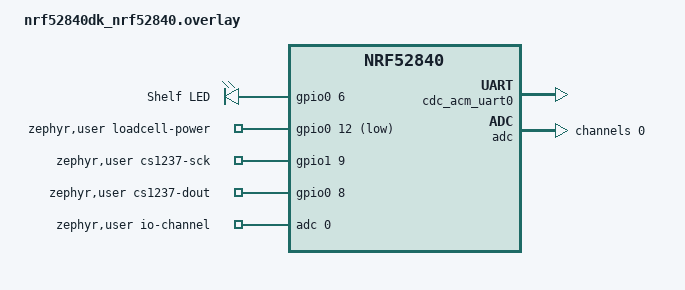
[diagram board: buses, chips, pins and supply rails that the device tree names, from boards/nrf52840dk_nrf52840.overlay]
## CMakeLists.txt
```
#
# Smart shelf node - E73-2G4M08S1C (nRF52840) + CS1237 load cell ADC
#
cmake_minimum_required(VERSION 3.20.0)

find_package(Zephyr REQUIRED HINTS $ENV{ZEPHYR_BASE})
project(smart_shelf)

target_sources(app PRIVATE
  src/main.c
  src/cs1237.c
  src/shelf_cal.c
  src/shelf_coap.c
)

target_include_directories(app PRIVATE src)
```

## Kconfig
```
#
# Smart shelf application options
#

menu "Smart shelf application"

comment "Power modes (docs/power-modes.md)"

config SHELF_IDLE_POLL_PERIOD_MS
	int "IDLE: Thread SED data poll period [ms]"
	default 1000
	help
	  How often the sleeping radio polls its parent. This bounds how fast
	  a gateway push (mode wake-up, LED) reaches an IDLE node, and is the
	  dominant *radio* power knob - the load cell rail usually dominates
	  overall, see SHELF_IDLE_MEASURE_INTERVAL_MS.

config SHELF_IDLE_MEASURE_INTERVAL_MS
	int "IDLE: load cell measurement period [ms]"
	default 2000
	help
	  The rail is powered for ~575 ms per gated measurement (warm-up plus
	  eleven 40 Hz conversions), so this duty cycle dominates the IDLE
	  power budget. 2000 ms keeps the requested 1-2 s change detection;
	  raise it if battery life matters more than idle responsiveness.

config SHELF_ACTIVE_MEASURE_INTERVAL_MS
	int "ACTIVE: load cell measurement period [ms]"
	default 500

config SHELF_ACTIVE_AVG_SAMPLES
	int "ACTIVE: samples averaged per measurement (640 Hz)"
	default 8
	range 1 64
	help
	  ACTIVE keeps the rail powered and runs the CS1237 at 640 Hz, so a
	  measurement is just this many conversions (~1.6 ms each). 640 Hz is
	  noisier per sample than 40 Hz - verify SHELF_ADC_DELTA_THRESHOLD
	  still clears the noise floor if you lower this.

config SHELF_HEARTBEAT_IDLE_S
	int "IDLE: force a report every N seconds (0 = never)"
	default 30
	help
	  Keeps the gateway's node table (and its mode-mismatch repair) alive
	  while nothing changes on the shelf. One NON report per interval.

config SHELF_HEARTBEAT_ACTIVE_S
	int "ACTIVE: force a report every N seconds (0 = never)"
	default 10

config SHELF_MODE_SYNC_INTERVAL_MS
	int "ACTIVE: LED/gateway sync poll period [ms]"
	default 5000
	help
	  Pushes are the fast path; this slow poll repairs a lost push and is
	  the liveness probe behind SHELF_ACTIVE_FAILSAFE_S.

config SHELF_ACTIVE_FAILSAFE_S
	int "ACTIVE: drop to IDLE after this long without gateway contact [s]"
	default 60
	help
	  Protects the battery when the gateway dies while the node is in
	  ACTIVE mode. The gateway repairs the mode via the weight report's
	  `md` field once it is back.

comment "Load cell measurement"

config SHELF_LOADCELL_WARMUP_MS
	int "Load cell / CS1237 warm-up time [ms]"
	default 300
	help
	  Delay between switching the load cell rail on and the first CS1237
	  access. Needs to cover the bridge settling time and the CS1237
	  power-on reset. Increase this if the first samples drift.

config SHELF_ADC_DISCARD_SAMPLES
	int "IDLE: samples discarded after power-up"
	default 3

config SHELF_ADC_AVG_SAMPLES
	int "IDLE: samples averaged into one measurement (40 Hz)"
	default 8
	range 1 64

config SHELF_ADC_DELTA_THRESHOLD
	int "Raw count change that triggers a report"
	default 500
	help
	  A measurement is only sent to the gateway when it differs from the
	  last reported value by at least this many raw ADC counts. Set this
	  above the peak-to-peak noise of your load cell or the node will
	  transmit continuously.

comment "Weight calibration"

config SHELF_CAL_OFFSET
	int "Raw counts at zero load (tare)"
	default 0

config SHELF_CAL_COUNTS_PER_KG
	int "Raw counts per kilogram"
	default 100000
	help
	  Only used to fill in the human readable "mg" field of the report.
	  The change detection always works on raw counts.

comment "Gateway communication"

config SHELF_COAP_RESP_TIMEOUT_MS
	int "CoAP response timeout [ms]"
	default 400

config SHELF_COAP_BASE_PATH
	string "First CoAP URI path segment used for all resources"
	default "shelf"

module = SHELF
module-str = Smart shelf
source "subsys/logging/Kconfig.template.log_config"

endmenu

source "Kconfig.zephyr"
```

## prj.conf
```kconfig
#
# Smart shelf node - E73-2G4M08S1C (nRF52840), Thread + CoAP
#

# --- Application ------------------------------------------------------------
CONFIG_MAIN_STACK_SIZE=4096

# Empty-shelf raw wandered 2119 counts p-p over 5 minutes (58 samples,
# 2026-08-08, freshly assembled setup) - slow drift, not sample noise, so the
# old 500-count default reported "changes" that were just drift. 2500 counts
# (~17 g at 144852 counts/kg) stays above the observed excursion; the 5-minute
# heartbeat re-bases the comparison value often enough to keep drift from
# accumulating past it. Re-measure after the mechanics have settled for a day -
# there may be room to lower this again.
CONFIG_SHELF_ADC_DELTA_THRESHOLD=2500
# IDLE load cell gate: one 583 ms rail burst (avg 4.8 mA, 10 ohm shunt
# measurement on battery) per interval. The rail duty is the dominant IDLE
# term, so 60 s brings the idle average to ~70 uA (~20 uA radio/system +
# ~47 uA rail) - about a year on 2000 mAh with 8 one-minute sessions a day.
# Change detection while nobody is logged in is delayed by up to this long;
# ACTIVE (0.2 s, rail always on) is unaffected.
CONFIG_SHELF_IDLE_MEASURE_INTERVAL_MS=60000
CONFIG_HEAP_MEM_POOL_SIZE=8192
CONFIG_GPIO=y
# Battery voltage via the SAADC VDDH/5 tap (`shelf battery`).
CONFIG_ADC=y
CONFIG_HWINFO=y
CONFIG_REBOOT=y

# --- Console / logging over the USB-C port ----------------------------------
# The module's UART pins collide with the LED and the CS1237, so everything
# goes over USB CDC ACM. Open the enumerated COM port at any baud rate.
CONFIG_SERIAL=y
CONFIG_CONSOLE=y
CONFIG_UART_CONSOLE=y
CONFIG_UART_LINE_CTRL=y
CONFIG_USB_DEVICE_STACK=y
CONFIG_USB_DEVICE_PRODUCT="Smart Shelf Node"
CONFIG_USB_DEVICE_MANUFACTURER="SmartShelf"
CONFIG_USB_DEVICE_INITIALIZE_AT_BOOT=n

CONFIG_LOG=y
CONFIG_LOG_MODE_DEFERRED=y
CONFIG_SHELF_LOG_LEVEL_INF=y

# When USB is not cooperating, build with `-DEXTRA_CONF_FILE=debug-rtt.conf` to
# move the console onto SEGGER RTT, which rides the SWD link instead.

# `ot` and `net` commands are extremely useful for commissioning and field
# debugging.
CONFIG_SHELL=y
CONFIG_OPENTHREAD_SHELL=y
CONFIG_NET_SHELL=y

# --- Networking -------------------------------------------------------------
CONFIG_NETWORKING=y
CONFIG_NET_IPV6=y
CONFIG_NET_UDP=y
CONFIG_NET_SOCKETS=y
CONFIG_NET_MGMT=y
CONFIG_NET_MGMT_EVENT=y
CONFIG_NET_MGMT_EVENT_INFO=y
CONFIG_NET_MGMT_EVENT_STACK_SIZE=2048
CONFIG_NET_CONNECTION_MANAGER=y
CONFIG_NET_IPV6_NBR_CACHE=n
CONFIG_NET_IPV6_MLD=n
CONFIG_NET_MAX_CONTEXTS=8
CONFIG_NET_CONFIG_SETTINGS=y
CONFIG_NET_CONFIG_AUTO_INIT=y
CONFIG_NET_CONFIG_NEED_IPV6=y

# Do not block boot waiting for an IPv6 address. The default is 30 s, and with
# no border router in range every boot burned all 30 of them before main() ran -
# which also delayed usb_enable(), so the USB console took half a minute to
# appear. The threads already wait for NET_EVENT_L4_CONNECTED themselves, so
# blocking here is redundant. 0 means "do not wait" (init.c:420).
CONFIG_NET_CONFIG_INIT_TIMEOUT=0

# --- Thread -----------------------------------------------------------------
CONFIG_NET_L2_OPENTHREAD=y
CONFIG_OPENTHREAD_MTD=y

# NCS defaults CONFIG_OPENTHREAD_MANUAL_START to y, which means the application
# has to call openthread_start() itself. This one does not - it just waits for
# NET_EVENT_L4_CONNECTED - so the stack stayed down: `ot ifconfig` reported
# `down`, `ot dataset active` reported NotFound, and every credential below was
# ignored in favour of OpenThread's built-in defaults (channel 11, panid 0xffff,
# network name "OpenThread"). Letting the L2 auto-start applies them and brings
# the interface up.
CONFIG_OPENTHREAD_MANUAL_START=n
# Sleepy End Device support. The node boots in IDLE mode (rx off, data poll
# below), and shelf_mode.c flips mRxOnWhenIdle at runtime when the gateway
# commands ACTIVE - see docs/power-modes.md. The old 700 ms LED poll that
# blocked SED (docs/build-and-flash.md §6) is gone: the gateway pushes LED
# state, and the parent queues pushes for the sleeping child.
CONFIG_OPENTHREAD_MTD_SED=y
CONFIG_OPENTHREAD_POLL_PERIOD=1000
CONFIG_OPENTHREAD_DEFAULT_TX_POWER=8

# Static commissioning. These MUST match the gateway / border router.
# Comment the whole block out and use `ot` shell commands or a joiner instead
# if the gateway hands out credentials.
CONFIG_OPENTHREAD_NETWORK_NAME="SmartShelf"
CONFIG_OPENTHREAD_CHANNEL=15
CONFIG_OPENTHREAD_PANID=43981
CONFIG_OPENTHREAD_XPANID="11:11:11:11:22:22:22:22"
CONFIG_OPENTHREAD_NETWORKKEY="00:11:22:33:44:55:66:77:88:99:aa:bb:cc:dd:ee:ff"

# --- CoAP -------------------------------------------------------------------
CONFIG_COAP=y
CONFIG_COAP_EXTENDED_OPTIONS_LEN=y
CONFIG_COAP_EXTENDED_OPTIONS_LEN_VALUE=64

# --- 32.768 kHz clock source ------------------------------------------------
# This board has no 32.768 kHz crystal - the module's XL1/XL2 pins are left
# unconnected (confirmed in the pcb-smart-shelf schematic). The nRF52840 DK
# board files assume one, so the internal RC oscillator must be selected
# explicitly.
#
# With XTAL selected and no crystal fitted, LFCLKSTARTED never fires and the
# system clock init blocks forever - the device hangs before main(), so no USB,
# no console, nothing. MCUboot needs the same override (sysbuild/mcuboot.conf).
CONFIG_CLOCK_CONTROL_NRF_K32SRC_RC=y
CONFIG_CLOCK_CONTROL_NRF_K32SRC_XTAL=n
CONFIG_CLOCK_CONTROL_NRF_K32SRC_500PPM=y
```

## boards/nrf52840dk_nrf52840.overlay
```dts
/*
 * Smart shelf node on an E73-2G4M08S1C (nRF52840) module.
 *
 * The build target is the nRF52840 DK board definition; this overlay replaces
 * every DK specific pin assignment that the module uses differently. Only the
 * SoC parts of the DK board files are actually relied on.
 *
 * Pin map (docs/plan.md):
 *   P0.06  LED
 *   P0.08  CS1237 DRDY/DOUT
 *   P1.09  CS1237 SCLK
 *   P0.12  load cell rail power switch      <-- plan.md says "P12", assumed P0.12
 */

#include <zephyr/dt-bindings/gpio/gpio.h>
#include <zephyr/dt-bindings/adc/nrf-adc.h>

/* Shared with MCUboot - both images must agree on the flash layout. */
#include "../partitions.dtsi"

/ {
	aliases {
		shelf-led = &shelf_led;
	};

	shelf_leds: shelf-leds {
		compatible = "gpio-leds";

		shelf_led: shelf-led {
			/* Change to GPIO_ACTIVE_LOW if the LED is wired to VCC. */
			gpios = <&gpio0 6 GPIO_ACTIVE_HIGH>;
			label = "Shelf LED";
		};
	};

	zephyr,user {
		/*
		 * Load cell + CS1237 rail switch. Q2 (AO3401A) is a P-channel
		 * high side switch: source = E73_3V3, drain = +3V3_C on J3,
		 * gate pulled up to the source by R11 (100k) and driven from
		 * P0.12 through R10 (1k). Pulling the gate LOW turns it ON,
		 * hence GPIO_ACTIVE_LOW.
		 *
		 * With ACTIVE_HIGH the logic is exactly inverted: cs1237_init()
		 * leaves the rail permanently on and cs1237_power_up() switches
		 * it off, so reads either time out (-116) or return 0 from a
		 * browning-out chip living off the bulk capacitance.
		 */
		loadcell-power-gpios = <&gpio0 12 GPIO_ACTIVE_LOW>;

		cs1237-sck-gpios  = <&gpio1 9 GPIO_ACTIVE_HIGH>;
		cs1237-dout-gpios = <&gpio0 8 GPIO_ACTIVE_HIGH>;

		/* Battery voltage via the SAADC's internal VDDH/5 tap - no
		 * external divider. VDDH is +BAT_FIN: the battery when running
		 * from it, or VBUS minus the D1 drop (~4.6 V) when USB is
		 * plugged in and Q5 has the battery disconnected. */
		io-channels = <&adc 0>;
	};

	chosen {
		zephyr,console = &cdc_acm_uart0;
		zephyr,shell-uart = &cdc_acm_uart0;
	};
};

/*
 * The DK routes UART0 to P0.05..P0.08, which collides with the LED (P0.06) and
 * with CS1237 DOUT (P0.08). Console and shell go over USB CDC ACM instead.
 */
&uart0 {
	status = "disabled";
};

&uart1 {
	status = "disabled";
};

/*
 * REG0 is the high voltage regulator (VDDH -> VDD). The DK enables its DC/DC
 * converter because the DK carries an inductor on DCCH; this board does not
 * (the module's DCH pin is unconnected).
 *
 * zephyr/soc/nordic/nrf52/soc.c:39 turns the DC/DC on whenever this node is
 * "okay", and without the inductor REG0 cannot regulate: VDD collapses to the
 * 1.8 V default and UICR.REGOUT0 appears to have no effect. Leaving it in LDO
 * mode is what makes REGOUT0 work.
 *
 * Symptom when this is missing: a blank chip shows the configured 3.0 V, but as
 * soon as any firmware boots VDD drops to 1.8 V - on USB and on battery alike -
 * and USB never enumerates.
 */
&reg0 {
	status = "disabled";
};

/* Not used on this module, and the DK pins are free for other purposes. */
&i2c0 {
	status = "disabled";
};

&spi1 {
	status = "disabled";
};

/*
 * The DK carries an MX25R64 QSPI flash; this board does not. Left enabled the
 * driver probes it on every boot and logs
 *
 *     <err> qspi_nor: JEDEC id [ff ff ff] expect [c2 28 17]
 */
&mx25r64 {
	status = "disabled";
};

&qspi {
	status = "disabled";
};

&zephyr_udc0 {
	cdc_acm_uart0: cdc_acm_uart0 {
		compatible = "zephyr,cdc-acm-uart";
	};
};

&adc {
	status = "okay";
	#address-cells = <1>;
	#size-cells = <0>;

	/* VDDH/5 with gain 1/2 against the 0.6 V internal reference gives a
	 * 0..12 V theoretical span - a 4.2 V Li-ion sits comfortably inside. */
	channel@0 {
		reg = <0>;
		zephyr,gain = "ADC_GAIN_1_2";
		zephyr,reference = "ADC_REF_INTERNAL";
		zephyr,acquisition-time = <ADC_ACQ_TIME(ADC_ACQ_TIME_MICROSECONDS, 40)>;
		zephyr,input-positive = <NRF_SAADC_VDDHDIV5>;
		zephyr,resolution = <12>;
		zephyr,oversampling = <4>;
	};
};
```

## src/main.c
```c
/*
 * Smart shelf node.
 *
 *   E73-2G4M08S1C (nRF52840) + CS1237 load cell ADC, Thread / CoAP uplink.
 *
 * Two power modes (docs/power-modes.md), commanded by the gateway:
 *
 *   IDLE   : Thread SED (radio polls every CONFIG_SHELF_IDLE_POLL_PERIOD_MS),
 *            gated 40 Hz measurements every CONFIG_SHELF_IDLE_MEASURE_INTERVAL_MS,
 *            LED forced off. This is the boot default.
 *   ACTIVE : Thread MED (radio always on), load cell rail kept powered and
 *            sampled at 640 Hz every CONFIG_SHELF_ACTIVE_MEASURE_INTERVAL_MS,
 *            LED driven by gateway pushes with a slow poll as backup.
 *
 *   measure thread : samples the load cell and reports to the gateway whenever
 *                    the reading moved by more than the configured threshold,
 *                    or the mode's heartbeat interval expired.
 *   led thread     : boot mode sync, ACTIVE LED sync poll + gateway failsafe,
 *                    IDLE LED-off enforcement.
 */

#include <zephyr/kernel.h>
#include <zephyr/device.h>
#include <zephyr/drivers/adc.h>
#include <zephyr/drivers/gpio.h>
#include <zephyr/logging/log.h>
#include <zephyr/net/net_event.h>
#include <zephyr/net/net_mgmt.h>
#include <zephyr/sys/atomic.h>
#include <errno.h>

#if defined(CONFIG_USB_DEVICE_STACK)
#include <zephyr/usb/usb_device.h>
#endif

#include "cs1237.h"
#include "shelf_cal.h"
#include "shelf_coap.h"
#include "shelf_mode.h"

LOG_MODULE_REGISTER(shelf, CONFIG_SHELF_LOG_LEVEL);

#define SHELF_USER_NODE DT_PATH(zephyr_user)

BUILD_ASSERT(CONFIG_SHELF_CAL_COUNTS_PER_KG != 0,
	     "SHELF_CAL_COUNTS_PER_KG must not be zero");

static const struct gpio_dt_spec led =
	GPIO_DT_SPEC_GET(DT_ALIAS(shelf_led), gpios);

/* .config is the IDLE profile; ACTIVE swaps the speed bits (see below). */
static const struct cs1237 loadcell = {
	.sck  = GPIO_DT_SPEC_GET(SHELF_USER_NODE, cs1237_sck_gpios),
	.dout = GPIO_DT_SPEC_GET(SHELF_USER_NODE, cs1237_dout_gpios),
	.pwr  = GPIO_DT_SPEC_GET(SHELF_USER_NODE, loadcell_power_gpios),
	.config = CS1237_SPEED_40 | CS1237_PGA_128 | CS1237_CH_A,
};

/* ACTIVE keeps the rail powered, so the slow-settling 40 Hz filter is not
 * needed - 640 Hz makes a full average cost ~15 ms instead of ~200 ms. */
#define CS_CFG_ACTIVE (CS1237_SPEED_640 | CS1237_PGA_128 | CS1237_CH_A)

static K_SEM_DEFINE(net_ready, 0, 1);
static struct net_mgmt_event_callback l4_cb;

/* Upper bound on how long a worker waits for the first L4_CONNECTED event.
 * After that it starts anyway - CoAP simply fails until the mesh is up, which
 * is preferable to a node that stays silent forever if the event is missed. */
#define NET_READY_GRACE K_SECONDS(120)

static void wait_for_network(const char *who)
{
	if (k_sem_take(&net_ready, NET_READY_GRACE) != 0) {
		LOG_WRN("%s: no Thread connectivity yet, starting anyway", who);
	} else {
		/* L4_CONNECTED gives the semaphore once, but the measure and LED
		 * threads both wait on it - hand the token back so the second
		 * waiter is released too instead of eating the full grace time. */
		k_sem_give(&net_ready);
	}
}

/* ------------------------------------------------------------------ network */

static void l4_event_handler(struct net_mgmt_event_callback *cb, uint64_t event,
			     struct net_if *iface)
{
	ARG_UNUSED(cb);
	ARG_UNUSED(iface);

	switch (event) {
	case NET_EVENT_L4_CONNECTED:
		LOG_INF("Thread network connected");
		k_sem_give(&net_ready);
		break;
	case NET_EVENT_L4_DISCONNECTED:
		LOG_WRN("Thread network disconnected");
		break;
	default:
		break;
	}
}

/* ------------------------------------------------------------------ weight */

static uint32_t abs_delta(int32_t a, int32_t b)
{
	return (uint32_t)((a > b) ? (a - b) : (b - a));
}

/* The measurement thread and the `shelf` shell commands both drive the rail
 * and the bit-banged bus, so everything is serialised by this mutex. It also
 * guards rail_held: in ACTIVE mode the measurement thread keeps the rail
 * powered between samples, and a shell `shelf raw` must ride that rail
 * instead of power-cycling it away underneath the thread. */
static K_MUTEX_DEFINE(loadcell_lock);
static bool rail_held;

int shelf_read_raw(int32_t *raw)
{
	int ret;

	k_mutex_lock(&loadcell_lock, K_FOREVER);

	if (rail_held) {
		/* Rail already on and converting at 640 Hz. */
		ret = cs1237_read_avg(&loadcell, 1,
				      CONFIG_SHELF_ACTIVE_AVG_SAMPLES, raw);
	} else {
		ret = cs1237_power_up(&loadcell);
		if (ret == 0) {
			ret = cs1237_read_avg(&loadcell,
					      CONFIG_SHELF_ADC_DISCARD_SAMPLES,
					      CONFIG_SHELF_ADC_AVG_SAMPLES, raw);
		}
		cs1237_power_down(&loadcell);
	}

	k_mutex_unlock(&loadcell_lock);
	return ret;
}

/* Rail policy on a mode transition. Failure to power up is not fatal - the
 * next measurement attempt retries. */
static void rail_enter_mode(enum shelf_mode mode)
{
	k_mutex_lock(&loadcell_lock, K_FOREVER);

	if (mode == SHELF_MODE_ACTIVE && !rail_held) {
		if (cs1237_power_up_cfg(&loadcell, CS_CFG_ACTIVE) == 0) {
			rail_held = true;
		} else {
			cs1237_power_down(&loadcell);
		}
	} else if (mode == SHELF_MODE_IDLE && rail_held) {
		cs1237_power_down(&loadcell);
		rail_held = false;
	}

	k_mutex_unlock(&loadcell_lock);
}

static void measure_thread_fn(void *p1, void *p2, void *p3)
{
	enum shelf_mode cur = SHELF_MODE_IDLE;
	int32_t last_reported = 0;
	int64_t last_report_ms = 0;
	bool have_last = false;
	uint32_t seq = 0;
	int64_t next;

	ARG_UNUSED(p1);
	ARG_UNUSED(p2);
	ARG_UNUSED(p3);

	wait_for_network("measure");
	next = k_uptime_get();

	while (true) {
		enum shelf_mode m = shelf_mode_get();
		uint32_t interval = (m == SHELF_MODE_ACTIVE)
			? CONFIG_SHELF_ACTIVE_MEASURE_INTERVAL_MS
			: CONFIG_SHELF_IDLE_MEASURE_INTERVAL_MS;
		uint32_t heartbeat_s = (m == SHELF_MODE_ACTIVE)
			? CONFIG_SHELF_HEARTBEAT_ACTIVE_S
			: CONFIG_SHELF_HEARTBEAT_IDLE_S;
		int32_t raw = 0;
		int ret;

		if (m != cur) {
			rail_enter_mode(m);
			cur = m;
		} else if (m == SHELF_MODE_ACTIVE && !rail_held) {
			rail_enter_mode(m);	/* retry a failed power-up */
		}

		next += interval;

		ret = shelf_read_raw(&raw);

		if (ret) {
			LOG_ERR("load cell measurement failed (%d)", ret);
		} else {
			int64_t now = k_uptime_get();
			bool changed = !have_last ||
				abs_delta(raw, last_reported) >=
					(uint32_t)CONFIG_SHELF_ADC_DELTA_THRESHOLD;
			bool heartbeat = (heartbeat_s > 0) &&
				(now - last_report_ms >= (int64_t)heartbeat_s * 1000);

			LOG_DBG("raw=%d mg=%d%s", raw, shelf_raw_to_mg(raw),
				changed ? " (changed)" : "");

			if (changed || heartbeat) {
				int32_t batt_mv = -1;

				(void)shelf_battery_read_mv(&batt_mv);

				if (shelf_coap_report_weight(raw, shelf_raw_to_mg(raw),
							     ++seq, batt_mv) == 0) {
					last_reported = raw;
					last_report_ms = now;
					have_last = true;
				}
			}
		}

		/* Sleep until the next slot - or instantly re-evaluate when
		 * shelf_mode_request() gives the semaphore on a mode change. */
		if (k_sem_take(&shelf_mode_measure_wake,
			       K_TIMEOUT_ABS_MS(next)) == 0) {
			next = k_uptime_get();
		}
	}
}

/* --------------------------------------------------------------------- LED */

static atomic_t led_commanded;

static void led_apply(bool on)
{
	atomic_set(&led_commanded, on ? 1 : 0);
	gpio_pin_set_dt(&led, on);
}

/* Runs in the CoAP RX thread when the gateway pushes PUT <base>/led. */
static void led_push_handler(bool on)
{
	if (shelf_mode_get() != SHELF_MODE_ACTIVE && on) {
		/* IDLE means nobody is looking at the shelf - don't let a
		 * racing push leave the LED burning for nobody. */
		LOG_WRN("LED-on push ignored in idle mode");
		return;
	}
	led_apply(on);
}

/*
 * One-time boot synchronisation: ask the gateway which mode we should be in.
 * Ends as soon as an answer arrives, any mode push beats us to it, or the
 * shell forces a mode (bench work without a gateway - the LED thread must
 * not stay parked here or forced ACTIVE never runs the wake animation).
 * Backs off so an old gateway (no mode resource) only costs one request a
 * minute.
 */
static void boot_mode_sync(void)
{
	uint32_t delay_s = 2;

	while (!shelf_mode_is_synced() && !shelf_mode_is_forced()) {
		enum shelf_mode m;

		if (shelf_coap_get_mode(&m) == 0) {
			shelf_mode_request(m, SHELF_MODE_ORIGIN_GATEWAY);
			return;
		}

		for (uint32_t i = 0;
		     i < delay_s && !shelf_mode_is_synced() &&
		     !shelf_mode_is_forced(); i++) {
			k_sleep(K_SECONDS(1));
		}
		delay_s = MIN(delay_s * 2, 60);
	}
}

static void led_thread_fn(void *p1, void *p2, void *p3)
{
	enum shelf_mode prev = SHELF_MODE_IDLE;

	ARG_UNUSED(p1);
	ARG_UNUSED(p2);
	ARG_UNUSED(p3);

	wait_for_network("led");
	boot_mode_sync();

	while (true) {
		enum shelf_mode m = shelf_mode_get();

		if (m == SHELF_MODE_ACTIVE && prev != SHELF_MODE_ACTIVE) {
			/* Wake animation: one 0->255->0 breathe so the user sees
			 * the shelf come alive on login. Runs here (not in the
			 * CoAP RX thread that received the push) so the mode-push
			 * ACK is not delayed by the ~4 s sweep. A LED push that
			 * lands mid-sweep is re-asserted right after. */
			LOG_INF("wake animation");
			shelf_led_breathe(1);
			led_apply(atomic_get(&led_commanded));
		}
		prev = m;

		if (m != SHELF_MODE_ACTIVE) {
			if (atomic_get(&led_commanded)) {
				LOG_INF("idle mode, LED off");
			}
			led_apply(false);
			/* Nothing to do until the mode changes. */
			k_sem_take(&shelf_mode_led_wake, K_FOREVER);
			continue;
		}

		/* ACTIVE: pushes do the fast path; this poll repairs a lost
		 * push and doubles as the gateway liveness probe. */
		bool want = atomic_get(&led_commanded);

		if (shelf_coap_poll_led(&want) == 0) {
			if (want != (bool)atomic_get(&led_commanded)) {
				LOG_INF("LED %s (sync poll)", want ? "on" : "off");
				led_apply(want);
			}
		} else if (!shelf_mode_is_forced()) {
			int64_t contact = shelf_coap_last_contact();

			if (contact > 0 &&
			    k_uptime_get() - contact >
				    (int64_t)CONFIG_SHELF_ACTIVE_FAILSAFE_S * 1000) {
				LOG_WRN("no gateway for %d s, dropping to idle",
					CONFIG_SHELF_ACTIVE_FAILSAFE_S);
				shelf_mode_request(SHELF_MODE_IDLE,
						   SHELF_MODE_ORIGIN_FAILSAFE);
				continue;
			}
		}

		(void)k_sem_take(&shelf_mode_led_wake,
				 K_MSEC(CONFIG_SHELF_MODE_SYNC_INTERVAL_MS));
	}
}

/* ----------------------------------------------------------------- battery */

/* SAADC channel on the internal VDDH/5 tap (see the board overlay). VDDH is
 * +BAT_FIN, so this reads the battery when running from it - and VBUS minus
 * the D1 drop when USB is plugged in and Q5 has the battery disconnected. */
static const struct adc_dt_spec vbat_adc =
	ADC_DT_SPEC_GET_BY_IDX(SHELF_USER_NODE, 0);

int shelf_battery_read_mv(int32_t *mv)
{
	int16_t buf;
	struct adc_sequence seq = {
		.buffer = &buf,
		.buffer_size = sizeof(buf),
	};
	int32_t val;
	int ret;

	if (!adc_is_ready_dt(&vbat_adc)) {
		return -ENODEV;
	}

	ret = adc_channel_setup_dt(&vbat_adc);
	if (ret) {
		return ret;
	}

	ret = adc_sequence_init_dt(&vbat_adc, &seq);
	if (ret) {
		return ret;
	}

	ret = adc_read_dt(&vbat_adc, &seq);
	if (ret) {
		return ret;
	}

	val = buf;
	ret = adc_raw_to_millivolts_dt(&vbat_adc, &val);
	if (ret) {
		return ret;
	}

	*mv = val * 5;	/* the tap divides VDDH by 5 */
	return 0;
}

/* Software-PWM breathing test for the LED hardware (Q1 gate on P0.06). The
 * shell thread bit-bangs the duty cycle, so no PWM peripheral or devicetree
 * channel is needed. The LED thread or a push may write the pin once
 * mid-test; the next PWM period overwrites it, so a glitch is at most 2 ms. */
int shelf_led_breathe(unsigned int cycles)
{
	const uint32_t period_us = 2000;      /* 500 Hz, flicker-free */
	const uint32_t periods_per_step = 4;  /* ~8 ms per brightness step */

	for (unsigned int c = 0; c < cycles; c++) {
		for (int step = 0; step < 510; step++) {
			uint32_t b = (step < 255) ? step : 510 - step;
			/* b^2/255 approximates the eye's response, so the ramp
			 * looks linear instead of hanging near full brightness. */
			uint32_t on_us = (b * b * period_us) / (255U * 255U);

			for (uint32_t p = 0; p < periods_per_step; p++) {
				if (on_us > 0) {
					gpio_pin_set_dt(&led, 1);
					k_busy_wait(on_us);
				}
				if (on_us < period_us) {
					gpio_pin_set_dt(&led, 0);
					k_busy_wait(period_us - on_us);
				}
			}
		}
	}

	gpio_pin_set_dt(&led, 0);
	return 0;
}

/* -------------------------------------------------------------------- main */

K_THREAD_DEFINE(measure_tid, 3072, measure_thread_fn, NULL, NULL, NULL,
		K_PRIO_PREEMPT(7), 0, 0);
K_THREAD_DEFINE(led_tid, 3072, led_thread_fn, NULL, NULL, NULL,
		K_PRIO_PREEMPT(6), 0, 0);

int main(void)
{
	int ret;

#if defined(CONFIG_USB_DEVICE_STACK)
	/* Console and shell live on the USB-C port. */
	(void)usb_enable(NULL);
#endif

	LOG_INF("smart shelf node starting");

	if (!gpio_is_ready_dt(&led)) {
		LOG_ERR("LED GPIO not ready");
		return -ENODEV;
	}

	ret = gpio_pin_configure_dt(&led, GPIO_OUTPUT_INACTIVE);
	if (ret) {
		LOG_ERR("LED configure failed (%d)", ret);
		return ret;
	}

	ret = cs1237_init(&loadcell);
	if (ret) {
		LOG_ERR("CS1237 GPIO init failed (%d)", ret);
		return ret;
	}

	/* Non-fatal: without stored values the Kconfig defaults stay in effect,
	 * which is still a working (if uncalibrated) node. */
	(void)shelf_cal_init();

	shelf_coap_set_led_push_cb(led_push_handler);

	ret = shelf_coap_init();
	if (ret) {
		LOG_ERR("CoAP init failed (%d)", ret);
		return ret;
	}

	shelf_mode_init();

	net_mgmt_init_event_callback(&l4_cb, l4_event_handler,
				     NET_EVENT_L4_CONNECTED | NET_EVENT_L4_DISCONNECTED);
	net_mgmt_add_event_callback(&l4_cb);

	LOG_INF("waiting for the Thread network");
	return 0;
}
```

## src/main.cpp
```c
#include <ESP8266WiFi.h>
#include <ESP8266HTTPClient.h>
#include <WiFiClient.h>
#include <EEPROM.h>
#include "HX711.h"
#include "config.h"

// 서버의 LED 상태를 읽어 물리 LED에 반영하는 예제


const int LED_PIN_1 = 5;    // LED 1 핀 (D1, GPIO 5)


// 로드셀 핀 설정 (HX711)
// DOUT 핀 -> D6 (GPIO12)
// SCK 핀  -> D7 (GPIO13)
const int LOADCELL_DOUT_PIN = 12;
const int LOADCELL_SCK_PIN = 13;

HX711 scale;

// --- [ EEPROM 설정 ] ---
const int EEPROM_SIZE = 32;
const uint32_t EEPROM_MAGIC = 0xABCD1235; // 매직 넘버 변경으로 이전 레이아웃 데이터 초기화 및 강제 재설정
const int ADDR_MAGIC = 0;
const int ADDR_FACTOR = 4;
const int ADDR_OFFSET = 8; // 영점 오프셋 주소 추가

float calibration_factor = 420.0f; // 초기 기본 팩터값 (로드셀 사양에 따라 다름)
long tare_offset = 0;              // 영점 오프셋 값
int lastRawWeight = 0;              // 직전 측정된 무게 (안정화 판단용)
int lastSentWeightValue = -99999;   // 마지막으로 서버에 전송한 확정 무게
unsigned long lastWeightChangeTime = 0; // 마지막으로 무게 변화가 감지된 시각
const unsigned long stabilityDelay = 500; // 무게가 안정될 때까지 기다릴 시간 (0.5초)
bool isChanging = false;            // 무게 변화 상태 여부
unsigned long lastWeightPoll = 0;    // 마지막으로 무게를 읽은 시각
const unsigned long weightPollInterval = 300; // 무게 확인 주기 (300ms)

unsigned long lastPoll = 0; // 마지막으로 LED 상태를 확인한 시각





void sendWeightValue(int value) {
  HTTPClient http;
  WiFiClient client;
  http.begin(client, String(SERVER_URL) + "/api/weight/" + DEVICE_ID);
  http.addHeader("Content-Type", "application/json");
  
  String jsonPayload = "{\"value\":" + String(value) + "}";
  int httpResponseCode = http.POST(jsonPayload);
  
  if (httpResponseCode > 0) {
    Serial.println("Weight value " + String(value) + " g sent for " + DEVICE_ID + ". Response: " + String(httpResponseCode));
  } else {
    Serial.println("Error sending weight value: " + String(httpResponseCode));
  }
  http.end();
}

void checkWeight() {
  if (millis() - lastWeightPoll > weightPollInterval) {
    lastWeightPoll = millis();
    if (scale.is_ready()) {
      // 10Hz 속도 기준 3회 평균(약 300ms)으로 변경하여 반응성을 높임
      float weight = scale.get_units(3); 
      int currentVal = (int)weight;

      // 3g 이상 무게 변화가 생기면 변화 중인 것으로 간주
      if (abs(currentVal - lastRawWeight) >= 3) {
        lastRawWeight = currentVal;
        lastWeightChangeTime = millis();
        isChanging = true;
      }
      
      // 무게가 변화한 상태에서 설정한 시간(stabilityDelay) 동안 추가 변화가 없으면 최종 안정화로 판단
      if (isChanging && (millis() - lastWeightChangeTime > stabilityDelay)) {
        isChanging = false;
        
        // 안정화된 최종 무게가 이전에 서버로 보낸 무게와 5g 이상 차이가 나거나 처음 보낼 때 전송
        if (lastSentWeightValue == -99999 || abs(currentVal - lastSentWeightValue) > 5) {
          lastSentWeightValue = currentVal;
          sendWeightValue(currentVal);
        }
      }
    }
  }
}



void setup() {
  Serial.begin(115200);
  pinMode(LED_PIN_1, OUTPUT);
  digitalWrite(LED_PIN_1, LOW);

  // HX711 초기화
  scale.begin(LOADCELL_DOUT_PIN, LOADCELL_SCK_PIN);

  // 로드셀 연결 대기 (최대 3초)
  Serial.println("로드셀 연결 상태 확인 중...");
  unsigned long start = millis();
  bool connected = false;
  while (millis() - start < 3000) {
    if (scale.is_ready()) {
      connected = true;
      break;
    }
    delay(100);
  }
  
  if (connected) {
    Serial.println("로드셀 연결 성공!");
  } else {
    Serial.println("경고: 로드셀을 찾을 수 없습니다. (배선을 확인하세요)");
  }

  // EEPROM 초기화 및 설정 로드
  EEPROM.begin(EEPROM_SIZE);
  
  uint32_t magic;
  EEPROM.get(ADDR_MAGIC, magic);
  if (magic == EEPROM_MAGIC) {
    EEPROM.get(ADDR_FACTOR, calibration_factor);
    EEPROM.get(ADDR_OFFSET, tare_offset);

    // 안전장치: 로드된 팩터가 유효하지 않은 값(0 또는 NaN)인 경우 기본값으로 복구
    if (isnan(calibration_factor) || calibration_factor == 0.0f) {
      calibration_factor = 420.0f;
      Serial.println("[EEPROM] 경고: 로드된 캘리브레이션 팩터가 유효하지 않아 기본값(420.0)으로 복원합니다.");
    }

    Serial.println("[EEPROM] 기존 캘리브레이션 팩터 및 영점 로드 완료.");
    Serial.print(" - Calibration Factor: ");
    Serial.println(calibration_factor, 2);
    Serial.print(" - Tare Offset: ");
    Serial.println(tare_offset);

    // 로드셀에 설정값 적용
    scale.set_scale(calibration_factor);
    scale.set_offset(tare_offset);
  } else {
    Serial.println("[EEPROM] 저장된 데이터가 없어 초기 설정을 수행합니다.");
    
    // 팩터 기본값 설정
    scale.set_scale(calibration_factor);
    
    if (connected) {
      scale.tare(); // 초기 영점 조절 (Tare)
      tare_offset = scale.get_offset();
      Serial.println("로드셀 초기 영점 조절 완료.");
      
      // 설정 저장
      EEPROM.put(ADDR_MAGIC, EEPROM_MAGIC);
      EEPROM.put(ADDR_FACTOR, calibration_factor);
      EEPROM.put(ADDR_OFFSET, tare_offset);
      EEPROM.commit();
      Serial.println("[EEPROM] 초기 설정을 플래시에 저장했습니다.");
    } else {
      Serial.println("초기 설정을 생략합니다. (로드셀 없음)");
    }
  }

  // WiFi 연결
  WiFi.begin(WIFI_SSID, WIFI_PASSWORD);
  Serial.print("WiFi 연결 중");
  while (WiFi.status() != WL_CONNECTED) {
    delay(500);
    Serial.print(".");
  }
  Serial.println("\n연결됨, IP: " + WiFi.localIP().toString());
}

// 서버에서 디바이스(LED) 상태를 받아와 핀에 반영
void pollLed() {
  HTTPClient http;
  WiFiClient client;
  http.begin(client, String(SERVER_URL) + "/api/led/" + DEVICE_ID);

  int httpCode = http.GET();
  if (httpCode == 200) {
    String body = http.getString();
    bool led1_on = body.indexOf("\"on\":true") >= 0;
    
    digitalWrite(LED_PIN_1, led1_on ? HIGH : LOW);
  } else {
    Serial.print("요청 실패 — 서버 응답 코드: ");
    Serial.println(httpCode);
  }
  http.end();
}

void loop() {


  // 무게 상태 감지 (로드셀)
  checkWeight();

  // 1초마다 서버의 LED 상태를 확인해 물리 LED에 반영
  if (millis() - lastPoll > 1000) {
    lastPoll = millis();
    pollLed();
  }
}
```

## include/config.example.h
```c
#pragma once

// 이 파일을 config.h 로 복사한 뒤 본인 환경에 맞게 수정하세요.
//   cp config.example.h config.h   (Windows: copy config.example.h config.h)
#define WIFI_SSID     "1008"
#define WIFI_PASSWORD "86876434"

// FastAPI 서버를 실행하는 PC의 IP 주소와 포트.
// 예: PC IP가 192.168.0.10 이면 "http://192.168.0.10:8000"
#define SERVER_URL    "http://192.168.0.8:8000"
```

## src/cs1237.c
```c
/*
 * CS1237 24-bit load cell ADC driver.
 *
 * Protocol summary (Chipsea CS1237 datasheet, "SCLK timing"):
 *
 *   DRDY/DOUT goes LOW when a conversion is ready. The master then clocks
 *   SCLK; DOUT changes on the rising edge, so it is sampled while SCLK is
 *   high.
 *
 *   Plain read              : clocks 1..24 = data, 25..27 = end of frame.
 *   Register read / write   : clocks 1..24 = data (discarded)
 *                             25..26 = filler
 *                             27     = chip releases DOUT (high impedance)
 *                             28..29 = bus turnaround, master may drive DOUT
 *                             30..36 = 7 bit command, MSB first
 *                             37     = turnaround
 *                             38..45 = 8 data bits
 *                             46     = chip takes DOUT back as an output
 *
 * SCLK must never stay HIGH for more than ~100 us or the chip powers down, so
 * interrupts are locked around the high phase of every pulse (~2 us windows).
 */

#include "cs1237.h"

#include <zephyr/kernel.h>
#include <zephyr/logging/log.h>
#include <zephyr/sys/util.h>
#include <errno.h>

LOG_MODULE_REGISTER(cs1237, CONFIG_SHELF_LOG_LEVEL);

/* Half of the SCLK period. The CS1237 accepts up to 1.1 MHz; ~250 kHz keeps a
 * comfortable margin while staying far below the 100 us power-down limit. */
#define SCK_HALF_US       2

/* A conversion takes 100 ms at the slowest (10 Hz) setting. */
#define READY_TIMEOUT_MS  400

#define CMD_READ_REG      0x56  /* 7 bit command 1010110b */
#define CMD_WRITE_REG     0x65  /* 7 bit command 1100101b */

#define DOUT_INPUT_FLAGS  (GPIO_INPUT | GPIO_PULL_UP)

/* Emit one SCLK pulse. Returns the DOUT level sampled while SCLK was high. */
static int sck_pulse(const struct cs1237 *dev, bool sample)
{
	int bit = 0;
	unsigned int key = irq_lock();

	gpio_pin_set_dt(&dev->sck, 1);
	k_busy_wait(SCK_HALF_US);
	if (sample) {
		bit = gpio_pin_get_dt(&dev->dout);
	}
	gpio_pin_set_dt(&dev->sck, 0);

	irq_unlock(key);
	k_busy_wait(SCK_HALF_US);

	return bit > 0 ? 1 : 0;
}

/* Drive one bit out on DOUT. The chip latches it on the falling edge. */
static void sck_pulse_write(const struct cs1237 *dev, int bit)
{
	gpio_pin_set_dt(&dev->dout, bit);
	(void)sck_pulse(dev, false);
}

static int wait_ready(const struct cs1237 *dev, uint32_t timeout_ms)
{
	int64_t deadline = k_uptime_get() + timeout_ms;

	do {
		if (gpio_pin_get_dt(&dev->dout) == 0) {
			return 0;
		}
		k_msleep(1);
	} while (k_uptime_get() < deadline);

	return -ETIMEDOUT;
}

static int32_t sign_extend24(uint32_t v)
{
	if (v & BIT(23)) {
		v |= 0xFF000000u;
	}
	return (int32_t)v;
}

int cs1237_read(const struct cs1237 *dev, int32_t *raw, uint32_t timeout_ms)
{
	uint32_t v = 0;
	int ret;

	ret = wait_ready(dev, timeout_ms);
	if (ret) {
		return ret;
	}

	for (int i = 0; i < 24; i++) {
		v = (v << 1) | (uint32_t)sck_pulse(dev, true);
	}
	/* Clocks 25..27 terminate the frame and release DRDY/DOUT high. */
	for (int i = 0; i < 3; i++) {
		(void)sck_pulse(dev, false);
	}

	if (v == 0x7FFFFFu || v == 0x800000u) {
		LOG_WRN("input saturated (raw 0x%06x) - check excitation and gain", v);
	}

	*raw = sign_extend24(v);
	return 0;
}

/* Shared implementation of the 46 clock register access frame. */
static int reg_xfer(const struct cs1237 *dev, bool write, uint8_t *val)
{
	uint8_t cmd = write ? CMD_WRITE_REG : CMD_READ_REG;
	int ret;

	ret = wait_ready(dev, READY_TIMEOUT_MS);
	if (ret) {
		return ret;
	}

	/* 1..26: conversion result plus filler, all discarded. */
	for (int i = 0; i < 26; i++) {
		(void)sck_pulse(dev, false);
	}
	/* 27: the chip releases DRDY/DOUT. */
	(void)sck_pulse(dev, false);

	/* 28..29: turnaround, the master owns DOUT from here. */
	gpio_pin_configure_dt(&dev->dout, GPIO_OUTPUT_INACTIVE);
	(void)sck_pulse(dev, false);
	(void)sck_pulse(dev, false);

	/* 30..36: 7 bit command, MSB first. */
	for (int i = 6; i >= 0; i--) {
		sck_pulse_write(dev, (cmd >> i) & 1);
	}

	if (write) {
		/* 37: turnaround. */
		(void)sck_pulse(dev, false);
		/* 38..45: register value, MSB first. */
		for (int i = 7; i >= 0; i--) {
			sck_pulse_write(dev, (*val >> i) & 1);
		}
		gpio_pin_configure_dt(&dev->dout, DOUT_INPUT_FLAGS);
	} else {
		/* Release DOUT before the chip starts driving it. */
		gpio_pin_configure_dt(&dev->dout, DOUT_INPUT_FLAGS);
		/* 37: turnaround. */
		(void)sck_pulse(dev, false);
		/* 38..45: register value, MSB first. */
		uint8_t r = 0;

		for (int i = 0; i < 8; i++) {
			r = (uint8_t)((r << 1) | sck_pulse(dev, true));
		}
		*val = r;
	}

	/* 46: the chip takes DRDY/DOUT back as an output. */
	(void)sck_pulse(dev, false);

	return 0;
}

int cs1237_read_config(const struct cs1237 *dev, uint8_t *cfg)
{
	return reg_xfer(dev, false, cfg);
}

int cs1237_write_config(const struct cs1237 *dev, uint8_t cfg)
{
	uint8_t v = cfg;

	return reg_xfer(dev, true, &v);
}

int cs1237_init(const struct cs1237 *dev)
{
	if (!gpio_is_ready_dt(&dev->pwr) || !gpio_is_ready_dt(&dev->sck) ||
	    !gpio_is_ready_dt(&dev->dout)) {
		return -ENODEV;
	}

	int ret = gpio_pin_configure_dt(&dev->pwr, GPIO_OUTPUT_INACTIVE);

	if (ret) {
		return ret;
	}

	/* Park the bus so nothing is back-fed into the unpowered chip. */
	(void)gpio_pin_configure_dt(&dev->sck, GPIO_DISCONNECTED);
	(void)gpio_pin_configure_dt(&dev->dout, GPIO_DISCONNECTED);

	return 0;
}

int cs1237_power_up_cfg(const struct cs1237 *dev, uint8_t config)
{
	uint8_t cur;
	int ret;

	ret = gpio_pin_configure_dt(&dev->sck, GPIO_OUTPUT_INACTIVE);
	if (ret) {
		return ret;
	}
	ret = gpio_pin_configure_dt(&dev->dout, DOUT_INPUT_FLAGS);
	if (ret) {
		return ret;
	}

	gpio_pin_set_dt(&dev->pwr, 1);
	k_msleep(CONFIG_SHELF_LOADCELL_WARMUP_MS);

	ret = cs1237_read_config(dev, &cur);
	if (ret) {
		LOG_ERR("CS1237 not responding (%d) - rail, wiring or warm-up time", ret);
		return ret;
	}

	if (cur != config) {
		LOG_DBG("config 0x%02x -> 0x%02x", cur, config);
		ret = cs1237_write_config(dev, config);
		if (ret) {
			return ret;
		}
		/* Let the modulator restart at the new rate. */
		k_msleep(50);
	}

	return 0;
}

int cs1237_power_up(const struct cs1237 *dev)
{
	return cs1237_power_up_cfg(dev, dev->config);
}

void cs1237_power_down(const struct cs1237 *dev)
{
	gpio_pin_set_dt(&dev->sck, 0);
	(void)gpio_pin_configure_dt(&dev->dout, GPIO_DISCONNECTED);
	(void)gpio_pin_configure_dt(&dev->sck, GPIO_DISCONNECTED);
	gpio_pin_set_dt(&dev->pwr, 0);
}

int cs1237_read_avg(const struct cs1237 *dev, uint8_t discard, uint8_t samples,
		    int32_t *raw)
{
	int64_t acc = 0;
	int32_t v;
	int ret;

	if (samples == 0) {
		return -EINVAL;
	}

	for (uint8_t i = 0; i < discard; i++) {
		ret = cs1237_read(dev, &v, READY_TIMEOUT_MS);
		if (ret) {
			return ret;
		}
	}

	for (uint8_t i = 0; i < samples; i++) {
		ret = cs1237_read(dev, &v, READY_TIMEOUT_MS);
		if (ret) {
			return ret;
		}
		acc += v;
	}

	*raw = (int32_t)(acc / samples);
	return 0;
}
```

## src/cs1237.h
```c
/*
 * CS1237 24-bit load cell ADC - bit-banged two wire (DRDY/DOUT + SCLK) driver
 * with a switchable supply rail.
 */

#ifndef SHELF_CS1237_H_
#define SHELF_CS1237_H_

#include <stdint.h>
#include <zephyr/drivers/gpio.h>

/* Configuration register bit fields. */
#define CS1237_REFO_OFF    BIT(6)  /* 1 = disable the internal reference output */

#define CS1237_SPEED_10    (0U << 4)
#define CS1237_SPEED_40    (1U << 4)
#define CS1237_SPEED_640   (2U << 4)
#define CS1237_SPEED_1280  (3U << 4)
#define CS1237_SPEED_MASK  (3U << 4)

#define CS1237_PGA_1       (0U << 2)
#define CS1237_PGA_2       (1U << 2)
#define CS1237_PGA_64      (2U << 2)
#define CS1237_PGA_128     (3U << 2)
#define CS1237_PGA_MASK    (3U << 2)

#define CS1237_CH_A        (0U << 0)  /* external differential input */
#define CS1237_CH_TEMP     (2U << 0)  /* internal temperature sensor */
#define CS1237_CH_SHORT    (3U << 0)  /* internal short, for offset measurement */
#define CS1237_CH_MASK     (3U << 0)

struct cs1237 {
	struct gpio_dt_spec sck;
	struct gpio_dt_spec dout;
	struct gpio_dt_spec pwr;
	uint8_t config;   /* value written to the configuration register */
};

/**
 * Claim the GPIOs and leave the rail off. Call once at boot.
 */
int cs1237_init(const struct cs1237 *dev);

/**
 * Switch the rail on, wait for the warm-up time and apply @ref cs1237.config.
 * The chip is ready to be read when this returns 0.
 */
int cs1237_power_up(const struct cs1237 *dev);

/**
 * Like cs1237_power_up() but with an explicit configuration - used to run the
 * same chip at different sample rates per power mode (docs/power-modes.md:
 * 40 Hz gated in IDLE, 640 Hz continuous in ACTIVE).
 */
int cs1237_power_up_cfg(const struct cs1237 *dev, uint8_t config);

/**
 * Switch the rail off and park DOUT/SCLK high impedance so that no current is
 * injected into the unpowered CS1237.
 */
void cs1237_power_down(const struct cs1237 *dev);

/**
 * Read one conversion result, sign extended to 32 bits.
 */
int cs1237_read(const struct cs1237 *dev, int32_t *raw, uint32_t timeout_ms);

/**
 * Throw away @p discard conversions, then average @p samples of them.
 */
int cs1237_read_avg(const struct cs1237 *dev, uint8_t discard, uint8_t samples,
		    int32_t *raw);

int cs1237_read_config(const struct cs1237 *dev, uint8_t *cfg);
int cs1237_write_config(const struct cs1237 *dev, uint8_t cfg);

#endif /* SHELF_CS1237_H_ */
```

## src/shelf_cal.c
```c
/*
 * Persistent load cell calibration + the `shelf` shell commands used to set it.
 *
 * Storage is the Zephyr settings subsystem under "shelf/cal". CONFIG_SETTINGS,
 * CONFIG_SETTINGS_NVS and CONFIG_NVS are already pulled in by OpenThread (it
 * keeps its dataset there), so nothing extra has to be enabled for this.
 */

#include "shelf_cal.h"

#include <zephyr/kernel.h>
#include <zephyr/logging/log.h>
#include <zephyr/settings/settings.h>
#include <zephyr/shell/shell.h>

#include <errno.h>
#include <stdlib.h>

LOG_MODULE_REGISTER(shelf_cal, CONFIG_SHELF_LOG_LEVEL);

#define CAL_SUBTREE   "shelf/cal"
#define CAL_KEY_OFF   CAL_SUBTREE "/offset"
#define CAL_KEY_CPKG  CAL_SUBTREE "/cpkg"

static int32_t cal_offset = CONFIG_SHELF_CAL_OFFSET;
static int32_t cal_cpkg   = CONFIG_SHELF_CAL_COUNTS_PER_KG;

/* ------------------------------------------------------------------ storage */

static int cal_settings_set(const char *name, size_t len,
			    settings_read_cb read_cb, void *cb_arg)
{
	const char *next;
	int32_t *target;

	if (settings_name_steq(name, "offset", &next) && !next) {
		target = &cal_offset;
	} else if (settings_name_steq(name, "cpkg", &next) && !next) {
		target = &cal_cpkg;
	} else {
		return -ENOENT;
	}

	if (len != sizeof(*target)) {
		return -EINVAL;
	}

	if (read_cb(cb_arg, target, sizeof(*target)) < 0) {
		return -EIO;
	}

	return 0;
}

SETTINGS_STATIC_HANDLER_DEFINE(shelf_cal, CAL_SUBTREE, NULL, cal_settings_set,
			       NULL, NULL);

int shelf_cal_init(void)
{
	int ret;

	ret = settings_subsys_init();
	if (ret) {
		LOG_ERR("settings init failed (%d), using built-in defaults", ret);
		return ret;
	}

	ret = settings_load_subtree(CAL_SUBTREE);
	if (ret) {
		LOG_ERR("calibration load failed (%d), using built-in defaults", ret);
		return ret;
	}

	if (cal_cpkg == 0) {
		LOG_ERR("stored counts_per_kg is zero, reverting to default");
		cal_cpkg = CONFIG_SHELF_CAL_COUNTS_PER_KG;
	}

	LOG_INF("calibration: offset=%d counts_per_kg=%d", cal_offset, cal_cpkg);
	return 0;
}

int32_t shelf_cal_offset(void)
{
	return cal_offset;
}

int32_t shelf_cal_counts_per_kg(void)
{
	return cal_cpkg;
}

int shelf_cal_set_offset(int32_t offset)
{
	int ret = settings_save_one(CAL_KEY_OFF, &offset, sizeof(offset));

	if (ret) {
		return ret;
	}

	cal_offset = offset;
	return 0;
}

int shelf_cal_set_counts_per_kg(int32_t counts_per_kg)
{
	int ret;

	if (counts_per_kg == 0) {
		return -EINVAL;
	}

	ret = settings_save_one(CAL_KEY_CPKG, &counts_per_kg,
				sizeof(counts_per_kg));
	if (ret) {
		return ret;
	}

	cal_cpkg = counts_per_kg;
	return 0;
}

int shelf_cal_reset(void)
{
	int first = settings_delete(CAL_KEY_OFF);
	int second = settings_delete(CAL_KEY_CPKG);

	cal_offset = CONFIG_SHELF_CAL_OFFSET;
	cal_cpkg = CONFIG_SHELF_CAL_COUNTS_PER_KG;

	return first ? first : second;
}

int32_t shelf_raw_to_mg(int32_t raw)
{
	int64_t counts = (int64_t)raw - (int64_t)cal_offset;

	return (int32_t)((counts * 1000000LL) / (int64_t)cal_cpkg);
}

/* -------------------------------------------------------------------- shell */

static int cmd_show(const struct shell *sh, size_t argc, char **argv)
{
	ARG_UNUSED(argc);
	ARG_UNUSED(argv);

	shell_print(sh, "offset        %d counts", cal_offset);
	shell_print(sh, "counts_per_kg %d", cal_cpkg);
	shell_print(sh, "defaults      offset=%d counts_per_kg=%d",
		    CONFIG_SHELF_CAL_OFFSET, CONFIG_SHELF_CAL_COUNTS_PER_KG);
	return 0;
}

static int cmd_raw(const struct shell *sh, size_t argc, char **argv)
{
	int32_t raw;
	int ret;

	ARG_UNUSED(argc);
	ARG_UNUSED(argv);

	ret = shelf_read_raw(&raw);
	if (ret) {
		shell_error(sh, "read failed (%d)", ret);
		return ret;
	}

	shell_print(sh, "raw %d  ->  %d mg", raw, shelf_raw_to_mg(raw));
	return 0;
}

static int cmd_tare(const struct shell *sh, size_t argc, char **argv)
{
	int32_t raw;
	int ret;

	ARG_UNUSED(argc);
	ARG_UNUSED(argv);

	ret = shelf_read_raw(&raw);
	if (ret) {
		shell_error(sh, "read failed (%d)", ret);
		return ret;
	}

	ret = shelf_cal_set_offset(raw);
	if (ret) {
		shell_error(sh, "save failed (%d)", ret);
		return ret;
	}

	shell_print(sh, "tared: offset = %d counts (saved)", raw);
	return 0;
}

static int cmd_cal(const struct shell *sh, size_t argc, char **argv)
{
	long grams;
	int32_t raw;
	int64_t span;
	int32_t cpkg;
	char *end;
	int ret;

	grams = strtol(argv[1], &end, 10);
	if (*end != '\0' || grams <= 0) {
		shell_error(sh, "expected a positive weight in grams");
		return -EINVAL;
	}

	ret = shelf_read_raw(&raw);
	if (ret) {
		shell_error(sh, "read failed (%d)", ret);
		return ret;
	}

	span = (int64_t)raw - (int64_t)cal_offset;
	if (span == 0) {
		shell_error(sh, "reading is identical to the tare point - "
			        "is the weight actually on the shelf?");
		return -EINVAL;
	}

	cpkg = (int32_t)((span * 1000LL) / (int64_t)grams);

	ret = shelf_cal_set_counts_per_kg(cpkg);
	if (ret) {
		shell_error(sh, "save failed (%d)", ret);
		return ret;
	}

	shell_print(sh, "raw %d, span %lld counts over %ld g", raw, span, grams);
	shell_print(sh, "counts_per_kg = %d (saved)", cpkg);
	return 0;
}

static int cmd_reset(const struct shell *sh, size_t argc, char **argv)
{
	int ret;

	ARG_UNUSED(argc);
	ARG_UNUSED(argv);

	ret = shelf_cal_reset();
	if (ret) {
		shell_error(sh, "delete failed (%d)", ret);
		return ret;
	}

	shell_print(sh, "calibration reset to defaults: offset=%d counts_per_kg=%d",
		    cal_offset, cal_cpkg);
	return 0;
}

static int cmd_ledtest(const struct shell *sh, size_t argc, char **argv)
{
	long cycles = 3;

	if (argc > 1) {
		char *end;

		cycles = strtol(argv[1], &end, 10);
		if (*end != '\0' || cycles < 1 || cycles > 20) {
			shell_error(sh, "expected a cycle count between 1 and 20");
			return -EINVAL;
		}
	}

	shell_print(sh, "breathing %ld cycle(s), ~4 s each...", cycles);
	shelf_led_breathe((unsigned int)cycles);
	shell_print(sh, "done");
	return 0;
}

static int cmd_battery(const struct shell *sh, size_t argc, char **argv)
{
	int32_t mv;
	int ret;

	ARG_UNUSED(argc);
	ARG_UNUSED(argv);

	ret = shelf_battery_read_mv(&mv);
	if (ret) {
		shell_error(sh, "read failed (%d)", ret);
		return ret;
	}

	shell_print(sh, "VDDH %d mV", mv);

	if (mv > 4400) {
		shell_print(sh, "USB power (battery disconnected by Q5) - "
				"unplug USB to measure the battery");
	} else {
		/* Crude 1S Li-ion estimate, 3.3 V empty .. 4.2 V full. */
		int32_t pct = (mv - 3300) * 100 / (4200 - 3300);

		pct = CLAMP(pct, 0, 100);
		shell_print(sh, "battery ~%d%% (linear 3.3-4.2 V estimate)", pct);
	}
	return 0;
}

SHELL_STATIC_SUBCMD_SET_CREATE(shelf_cmds,
	SHELL_CMD(show,  NULL, "Show the active calibration", cmd_show),
	SHELL_CMD(raw,   NULL, "Take one reading and print raw counts + mg", cmd_raw),
	SHELL_CMD(tare,  NULL, "Store the current reading as the zero point", cmd_tare),
	SHELL_CMD_ARG(cal, NULL,
		      "Calibrate with a known weight: shelf cal <grams>\n"
		      "Tare first with an empty shelf, then put the weight on.",
		      cmd_cal, 2, 0),
	SHELL_CMD(reset, NULL, "Forget the stored calibration", cmd_reset),
	SHELL_CMD_ARG(ledtest, NULL,
		      "Breathe the LED 0->255->0: shelf ledtest [cycles]",
		      cmd_ledtest, 1, 1),
	SHELL_CMD(battery, NULL,
		  "Read VDDH (battery) voltage via the SAADC VDDH/5 tap",
		  cmd_battery),
	SHELL_SUBCMD_SET_END
);

SHELL_CMD_REGISTER(shelf, &shelf_cmds, "Smart shelf load cell calibration", NULL);
```
